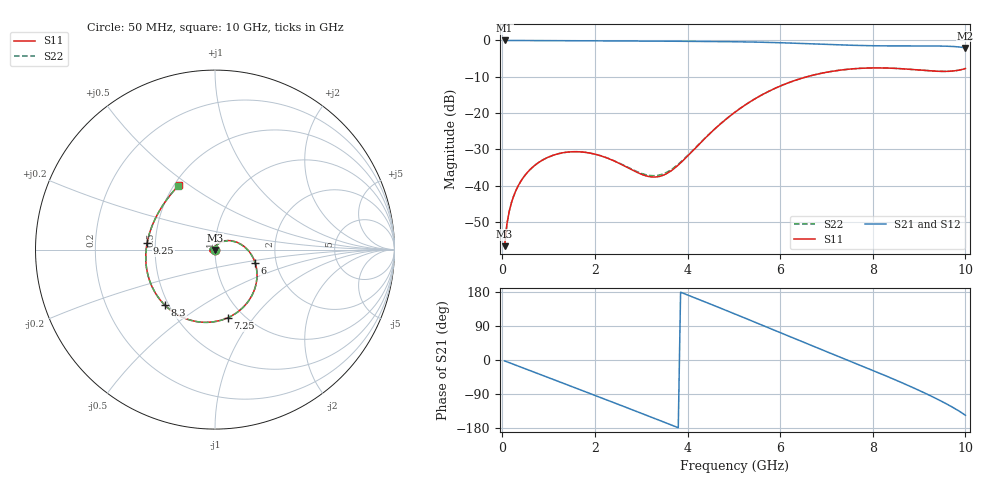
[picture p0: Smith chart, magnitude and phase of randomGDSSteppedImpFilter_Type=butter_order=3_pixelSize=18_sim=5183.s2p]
! freq	dB(S11)	phase(S11)	dB(S12)	phase(S12)
!  dB(S21)	phase(S21)	dB(S22)	phase(S22)
!S-par simulation data
#  GHz  S  DB  R 50
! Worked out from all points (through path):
!   200 points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, 50 MHz to 10 GHz, reference 50 ohm
!   highest |S21| = -0.01 dB at 50 MHz (marker M1); lowest = -2.1 dB at 10 GHz (marker M2)
!   group delay of S21, straight-line fit = 137 ps
!   lowest |S11| = -56.7 dB at 50 MHz (marker M3), VSWR 1.00, Z = 50 - j0.144 ohm
!   |S11| at or under -10 dB: start of sweep to 6.58 GHz
!   |S22| runs from -56.7 to -7.6 dB; largest |S21 - S12| = 0
!   S11 on the Smith chart (normalised r, x): 50 MHz: 1.00, -0.00; 6 GHz: 1.55, -0.24; 7.25 GHz: 0.84, -0.75; 8.3 GHz: 0.48, -0.36; 9.25 GHz: 0.45, +0.04; 10 GHz: 0.53, +0.45
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0.05  -56.67 -79.4  -0.01 -2.4  -0.01 -2.4  -56.67 -79.4
0.1  -50.56 -86.2  -0.01 -4.7  -0.01 -4.7  -50.56 -86.3
0.2  -44.59 -95.6  -0.02 -9.4  -0.02 -9.4  -44.59 -95.8
0.5  -36.99 -113.3  -0.03 -23.4  -0.03 -23.4  -36.99 -113.6
1.05  -31.85 -140.8  -0.06 -49.0  -0.06 -49.0  -31.85 -141.6
1.75  -30.76 -174.9  -0.09 -81.6  -0.09 -81.6  -30.76 -176.6
2.5  -33.70 146.7  -0.14 -116.8  -0.14 -116.8  -33.64 142.6
3.05  -37.08 115.5  -0.17 -142.9  -0.17 -142.9  -36.81 107.8
3.4  -37.44 96.5  -0.20 -159.5  -0.20 -159.5  -37.05 87.7
4.2  -29.25 64.6  -0.26 161.9  -0.26 161.9  -29.17 60.6
5.05  -19.52 27.5  -0.37 120.1  -0.37 120.1  -19.51 26.4
5.55  -15.39 3.8  -0.48 95.1  -0.48 95.1  -15.38 3.3
6  -12.57 -18.1  -0.63 72.4  -0.63 72.4  -12.57 -18.4
6.7  -9.60 -52.5  -0.95 37.2  -0.95 37.2  -9.59 -52.5
7.25  -8.26 -79.5  -1.21 9.8  -1.21 9.8  -8.26 -79.3
7.75  -7.67 -104.0  -1.40 -15.0  -1.40 -15.0  -7.67 -103.7
8.3  -7.60 -131.8  -1.50 -42.8  -1.50 -42.8  -7.60 -131.4
8.35  -7.62 -134.4  -1.51 -45.3  -1.51 -45.3  -7.62 -134.0
8.85  -8.00 -161.5  -1.52 -71.9  -1.52 -71.9  -8.00 -161.0
9.25  -8.40 174.7  -1.52 -94.6  -1.52 -94.6  -8.40 175.3
9.65  -8.49 148.0  -1.62 -119.6  -1.62 -119.6  -8.50 148.5
10  -7.74 119.4  -2.07 -145.9  -2.07 -145.9  -7.75 119.8
